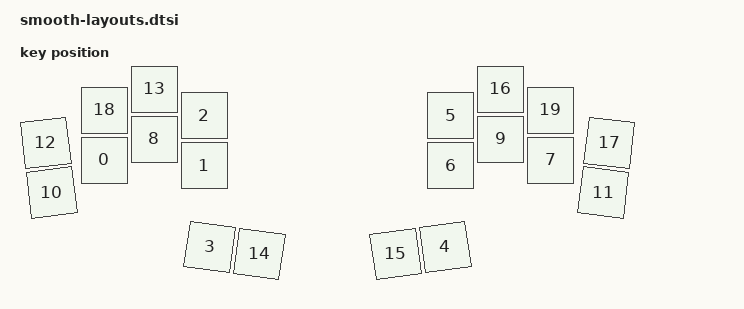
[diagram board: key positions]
#include <physical_layouts.dtsi>

/ {
    physical_layout0: physical_layout_0 {
        compatible = "zmk,physical-layout";
        display-name = "Default Layout";

        transform = <&default_transform>;

        keys  //                     w   h    x    y     rot    rx    ry
            = <&key_physical_attrs 100 100  117  142       0     0     0>
            , <&key_physical_attrs 100 100  317  153       0     0     0>
            , <&key_physical_attrs 100 100  317   53       0     0     0>
            , <&key_physical_attrs 100 100  328  316     800   378   366>
            , <&key_physical_attrs 100 100  799  316  (-800)   849   366>
            , <&key_physical_attrs 100 100  810   53       0     0     0>
            , <&key_physical_attrs 100 100  810  153       0     0     0>
            , <&key_physical_attrs 100 100 1010  142       0     0     0>
            , <&key_physical_attrs 100 100  217  100       0     0     0>
            , <&key_physical_attrs 100 100  910  100       0     0     0>
            , <&key_physical_attrs 100 100   12  207  (-700)    62   257>
            , <&key_physical_attrs 100 100 1115  207     700  1165   257>
            , <&key_physical_attrs 100 100    0  108  (-700)    50   158>
            , <&key_physical_attrs 100 100  217    0       0     0     0>
            , <&key_physical_attrs 100 100  427  330     800   477   380>
            , <&key_physical_attrs 100 100  700  330  (-800)   750   380>
            , <&key_physical_attrs 100 100  910    0       0     0     0>
            , <&key_physical_attrs 100 100 1127  108     700  1177   158>
            , <&key_physical_attrs 100 100  117   42       0     0     0>
            , <&key_physical_attrs 100 100 1010   42       0     0     0>
            ;
    };
};
